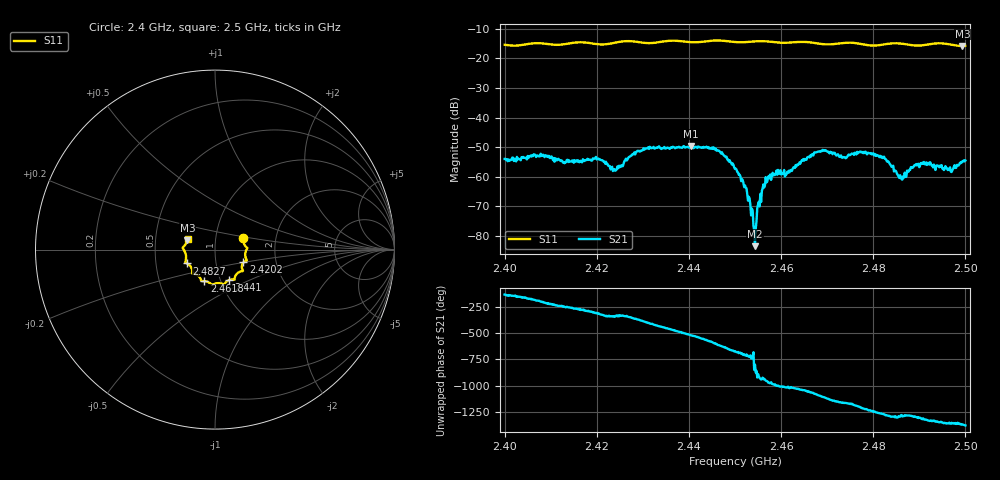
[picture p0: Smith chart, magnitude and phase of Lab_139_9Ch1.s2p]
# Hz S RI R 50
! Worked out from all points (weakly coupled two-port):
!   601 points, 2.4 GHz to 2.5 GHz, reference 50 ohm
!   highest |S21| = -49.64 dB at 2.4405 GHz (marker M1); lowest = -83.5 dB at 2.4543 GHz (marker M2)
!   lowest |S11| = -15.8 dB at 2.4993 GHz (marker M3), VSWR 1.39, Z = 36.5 + j3.83 ohm
!   |S11| at or under -10 dB: start of sweep to end of sweep
!   S12 and S22 are empty: the file has one direction only
!   S11 on the Smith chart (normalised r, x): 2.4 GHz: 1.36, +0.18; 2.4202 GHz: 1.36, -0.20; 2.441 GHz: 1.10, -0.39; 2.4618 GHz: 0.84, -0.30; 2.4827 GHz: 0.72, -0.12; 2.5 GHz: 0.73, +0.09
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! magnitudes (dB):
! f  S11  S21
! 2.4 GHz  -15.4  -54.0
! 2.4167 GHz  -14.5  -55.0
! 2.4202 GHz  -15.2  -54.1
! 2.424 GHz  -14.7  -58.0
! 2.4287 GHz  -14.4  -51.6
! 2.4333 GHz  -14.5  -50.0
! 2.4405 GHz  -14.5  -49.6
! 2.441 GHz  -14.6  -50.4
! 2.4458 GHz  -13.9  -50.5
! 2.45 GHz  -14.4  -57.4
! 2.452 GHz  -14.5  -63.6
! 2.4543 GHz  -14.2  -83.5
! 2.4572 GHz  -14.3  -60.2
! 2.4618 GHz  -14.6  -58.5
! 2.4667 GHz  -14.6  -52.4
! 2.4827 GHz  -15.2  -54.0
! 2.4833 GHz  -15.0  -55.0
! 2.4862 GHz  -15.0  -60.9
! 2.4893 GHz  -15.7  -55.7
! 2.4967 GHz  -15.3  -56.9
! 2.4993 GHz  -15.8  -55.1
! 2.5 GHz  -15.7  -54.5
